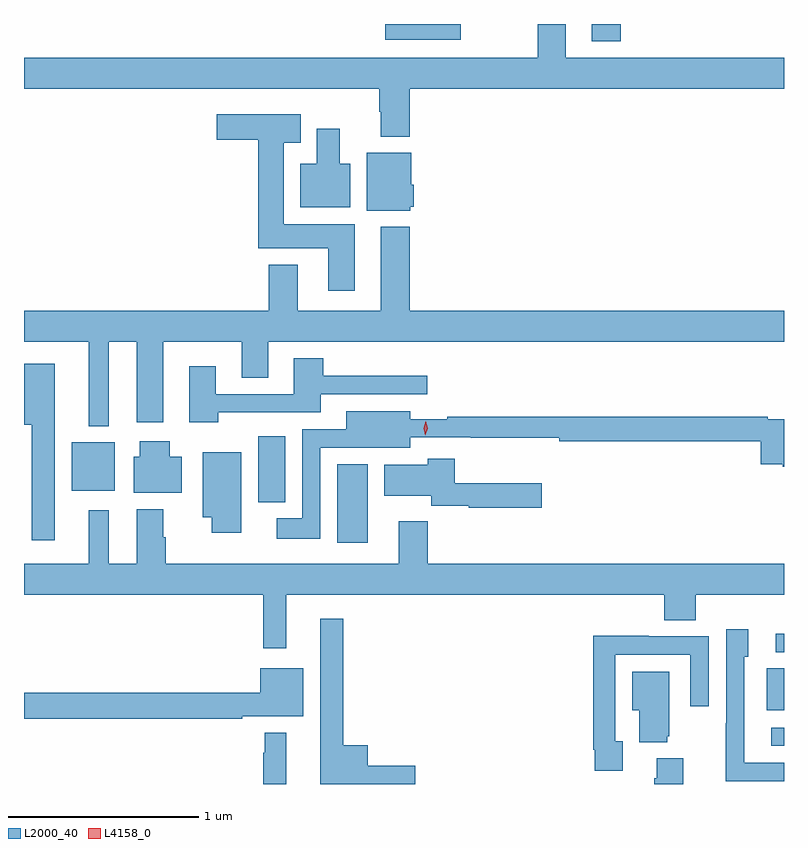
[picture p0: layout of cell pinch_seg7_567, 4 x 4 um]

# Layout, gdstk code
import gdstk
lib = gdstk.Library(unit=1e-6, precision=1e-09)
def R(c, l, rs):  # rectangles x0, y0, x1, y1
    for r in rs: c.add(gdstk.rectangle(r[:2], r[2:], *l))
def P(c, l, *ps):  # polygons
    for p in ps: c.add(gdstk.Polygon(p, *l))
L2000_40 = (2000, 40)
L4158_0 = (4158, 0)

pinch_seg7_567 = lib.new_cell('pinch_seg7_567')
R(pinch_seg7_567, L2000_40, [(232.431,1039.782,232.498,1039.878), (232.406,1039.97,232.498,1040.189), (232.455,1040.274,232.498,1040.372), (230.147,1040.85,230.308,1041.265), (229.73,1041.065,229.873,1041.412), (228.749,1041.125,228.976,1041.379), (231.485,1043.49,231.638,1043.581), (230.4,1043.498,230.797,1043.581)])
P(pinch_seg7_567, L2000_40, [(230.528,1043.24),(232.498,1043.24),(232.498,1043.404),(231.349,1043.404),(231.349,1043.581),(231.202,1043.581),(231.202,1043.404),(228.498,1043.404),(228.498,1043.24),(230.368,1043.24),(230.368,1043.12),(230.375,1043.12),(230.375,1042.988),(230.528,1042.988)],
  [(230.239,1042.528),(229.864,1042.528),(229.864,1042.955),(229.954,1042.955),(229.954,1043.107),(229.512,1043.107),(229.512,1042.973),(229.73,1042.973),(229.73,1042.4),(230.099,1042.4),(230.099,1042.176),(230.239,1042.176)],
  [(230.215,1042.846),(230.161,1042.846),(230.161,1043.029),(230.039,1043.029),(230.039,1042.846),(229.952,1042.846),(229.952,1042.616),(230.215,1042.616)],
  [(230.532,1042.62),(230.548,1042.62),(230.548,1042.734),(230.536,1042.734),(230.536,1042.903),(230.303,1042.903),(230.303,1042.598),(230.532,1042.598)],
  [(228.498,1041.908),(228.839,1041.908),(228.839,1041.464),(228.943,1041.464),(228.943,1041.908),(229.091,1041.908),(229.091,1041.486),(229.231,1041.486),(229.231,1041.908),(229.643,1041.908),(229.643,1041.718),(229.783,1041.718),(229.783,1041.908),(232.498,1041.908),(232.498,1042.072),(230.528,1042.072),(230.528,1042.513),(230.375,1042.513),(230.375,1042.072),(229.939,1042.072),(229.939,1042.315),(229.787,1042.315),(229.787,1042.072),(228.498,1042.072)],
  [(229.52,1041.537),(230.059,1041.537),(230.059,1041.633),(230.62,1041.633),(230.62,1041.73),(230.072,1041.73),(230.072,1041.823),(229.919,1041.823),(229.919,1041.633),(229.507,1041.633),(229.507,1041.781),(229.367,1041.781),(229.367,1041.486),(229.52,1041.486)],
  [(228.661,1041.793),(228.498,1041.793),(228.498,1041.473),(228.54,1041.473),(228.54,1040.865),(228.661,1040.865)],
  [(230.058,1041.351),(230.304,1041.351),(230.304,1041.35),(230.53,1041.35),(230.53,1041.405),(230.848,1041.405),(230.848,1041.403),(231.315,1041.403),(231.315,1041.385),(232.376,1041.385),(232.376,1041.263),(232.492,1041.263),(232.492,1041.251),(232.498,1041.251),(232.498,1041.501),(232.412,1041.501),(232.412,1041.514),(230.726,1041.514),(230.726,1041.502),(230.53,1041.502),(230.53,1041.544),(230.195,1041.544),(230.195,1041.447),(229.962,1041.447),(229.962,1040.98),(229.827,1040.98),(229.827,1040.873),(230.058,1040.873)],
  [(229.327,1041.304),(229.264,1041.304),(229.264,1041.385),(229.106,1041.385),(229.106,1041.304),(229.076,1041.304),(229.076,1041.113),(229.327,1041.113)],
  [(229.642,1041.328),(229.439,1041.328),(229.439,1040.984),(229.487,1040.984),(229.487,1040.904),(229.642,1040.904)],
  [(231.223,1041.163),(230.765,1041.163),(230.765,1041.292),(230.623,1041.292),(230.623,1041.262),(230.393,1041.262),(230.393,1041.098),(230.642,1041.098),(230.642,1041.046),(230.838,1041.046),(230.838,1041.034),(231.223,1041.034)],
  [(229.879,1040.576),(231.869,1040.576),(231.869,1040.443),(232.034,1040.443),(232.034,1040.576),(232.498,1040.576),(232.498,1040.74),(230.624,1040.74),(230.624,1040.965),(230.471,1040.965),(230.471,1040.74),(229.244,1040.74),(229.244,1040.879),(229.231,1040.879),(229.231,1041.028),(229.091,1041.028),(229.091,1040.74),(228.943,1040.74),(228.943,1041.022),(228.839,1041.022),(228.839,1040.74),(228.498,1040.74),(228.498,1040.576),(229.758,1040.576),(229.758,1040.295),(229.879,1040.295)],
  [(230.557,1039.676),(230.308,1039.676),(230.308,1039.786),(230.179,1039.786),(230.179,1040.452),(230.057,1040.452),(230.057,1039.581),(230.557,1039.581)],
  [(232.498,1039.692),(232.29,1039.692),(232.29,1040.25),(232.309,1040.25),(232.309,1040.395),(232.194,1040.395),(232.194,1039.901),(232.192,1039.901),(232.192,1039.595),(232.498,1039.595)],
  [(231.649,1039.805),(231.609,1039.805),(231.609,1040.262),(232.005,1040.262),(232.005,1039.989),(232.101,1039.989),(232.101,1040.358),(231.785,1040.358),(231.785,1040.36),(231.493,1040.36),(231.493,1039.762),(231.501,1039.762),(231.501,1039.65),(231.649,1039.65)],
  [(229.646,1039.937),(229.969,1039.937),(229.969,1040.191),(229.742,1040.191),(229.742,1040.06),(228.498,1040.06),(228.498,1039.924),(229.646,1039.924)],
  [(231.884,1039.833),(231.895,1039.833),(231.895,1040.173),(231.698,1040.173),(231.698,1039.97),(231.737,1039.97),(231.737,1039.802),(231.884,1039.802)],
  [(229.879,1039.852),(229.764,1039.852),(229.764,1039.745),(229.758,1039.745),(229.758,1039.581),(229.879,1039.581)],
  [(231.967,1039.717),(231.827,1039.717),(231.827,1039.61),(231.815,1039.61),(231.815,1039.581),(231.967,1039.581)])
P(pinch_seg7_567, L4158_0, [(230.611,1041.417),(230.611,1041.417),(230.602,1041.453),(230.612,1041.489),(230.613,1041.489),(230.613,1041.489),(230.622,1041.453),(230.611,1041.417)])

lib.write_gds('pinch_seg7_567.gds')
